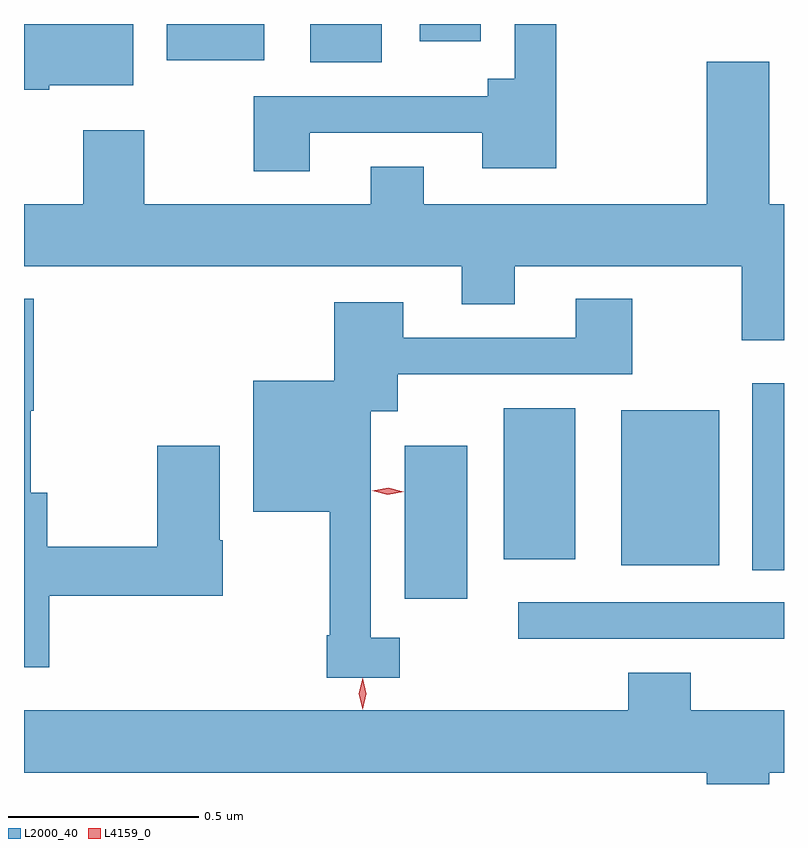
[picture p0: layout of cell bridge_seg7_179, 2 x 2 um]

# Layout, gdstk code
import gdstk
lib = gdstk.Library(unit=1e-6, precision=1e-09)
def R(c, l, rs):  # rectangles x0, y0, x1, y1
    for r in rs: c.add(gdstk.rectangle(r[:2], r[2:], *l))
def P(c, l, *ps):  # polygons
    for p in ps: c.add(gdstk.Polygon(p, *l))
L2000_40 = (2000, 40)
L4159_0 = (4159, 0)

bridge_seg7_179 = lib.new_cell('bridge_seg7_179')
R(bridge_seg7_179, L2000_40, [(452.223,1043.592,452.923,1043.688), (451.925,1043.697,452.089,1044.1), (452.84,1043.773,452.923,1044.265), (452.495,1043.786,452.752,1044.193), (452.186,1043.801,452.374,1044.199), (451.676,1045.109,451.864,1045.21), (451.298,1045.115,451.555,1045.21), (451.964,1045.164,452.125,1045.21)])
P(bridge_seg7_179, L2000_40, [(450.99,1045.049),(451.21,1045.049),(451.21,1045.21),(450.923,1045.21),(450.923,1045.037),(450.99,1045.037)],
  [(451.675,1044.924),(452.129,1044.924),(452.129,1044.83),(452.323,1044.83),(452.323,1045.21),(452.214,1045.21),(452.214,1045.066),(452.144,1045.066),(452.144,1045.02),(451.528,1045.02),(451.528,1044.822),(451.675,1044.822)],
  [(452.923,1044.736),(452.884,1044.736),(452.884,1045.111),(452.72,1045.111),(452.72,1044.736),(451.975,1044.736),(451.975,1044.835),(451.835,1044.835),(451.835,1044.736),(451.239,1044.736),(451.239,1044.93),(451.079,1044.93),(451.079,1044.736),(450.923,1044.736),(450.923,1044.572),(452.075,1044.572),(452.075,1044.473),(452.215,1044.473),(452.215,1044.572),(452.812,1044.572),(452.812,1044.378),(452.923,1044.378)],
  [(451.912,1043.595),(451.836,1043.595),(451.836,1044.191),(451.906,1044.191),(451.906,1044.288),(452.523,1044.288),(452.523,1044.487),(452.375,1044.487),(452.375,1044.384),(451.921,1044.384),(451.921,1044.478),(451.739,1044.478),(451.739,1044.271),(451.526,1044.271),(451.526,1043.927),(451.728,1043.927),(451.728,1043.602),(451.72,1043.602),(451.72,1043.49),(451.912,1043.49)],
  [(450.989,1043.706),(451.446,1043.706),(451.446,1043.851),(451.438,1043.851),(451.438,1044.1),(451.273,1044.1),(451.273,1043.834),(450.984,1043.834),(450.984,1043.977),(450.941,1043.977),(450.941,1044.192),(450.949,1044.192),(450.949,1044.487),(450.923,1044.487),(450.923,1043.517),(450.989,1043.517)],
  [(452.884,1043.24),(452.923,1043.24),(452.923,1043.404),(452.678,1043.404),(452.678,1043.503),(452.513,1043.503),(452.513,1043.404),(450.923,1043.404),(450.923,1043.24),(452.72,1043.24),(452.72,1043.21),(452.884,1043.21)])
P(bridge_seg7_179, L4159_0, [(451.88,1043.971),(451.84,1043.982),(451.84,1043.982),(451.84,1043.982),(451.881,1043.99),(451.922,1043.979),(451.922,1043.979),(451.922,1043.979)],
  [(451.814,1043.407),(451.814,1043.407),(451.804,1043.448),(451.814,1043.488),(451.814,1043.489),(451.814,1043.488),(451.824,1043.448),(451.814,1043.407)])

lib.write_gds('bridge_seg7_179.gds')
